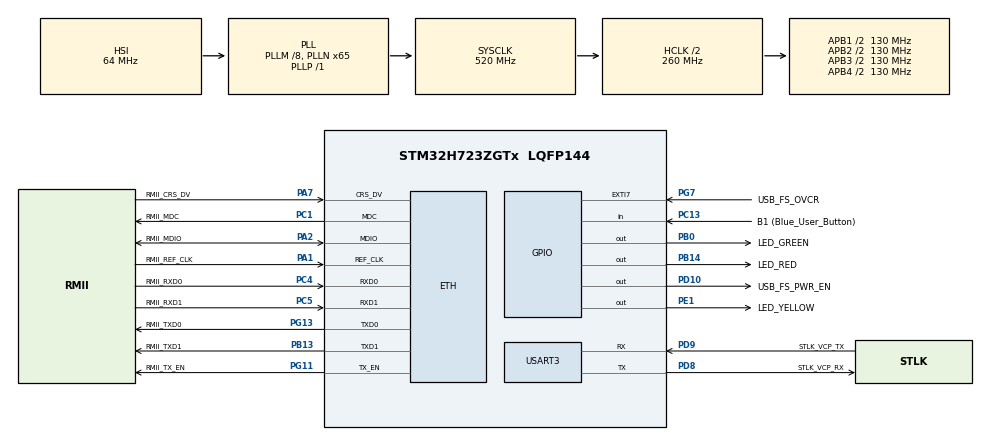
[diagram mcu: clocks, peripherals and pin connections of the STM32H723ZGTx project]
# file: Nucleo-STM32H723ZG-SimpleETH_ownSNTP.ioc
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Mcu.Family=STM32H7
LWIP0.BSP.STBoard=false
PH0-OSC_IN.Signal=RCC_OSC_IN
RCC.CortexFreq_Value=520000000
RCC.HPRE=RCC_HCLK_DIV2
PB14.GPIO_Label=LED_RED
NVIC.RTC_WKUP_IRQn=true\:0\:0\:false\:false\:true\:true\:true
RCC.PLLFRACN=0
PA13(JTMS/SWDIO).Signal=DEBUG_JTMS-SWDIO
VP_RTC_VS_RTC_Activate.Mode=RTC_Enabled
PB0.GPIO_Label=LED_GREEN
PC5.Mode=RMII
PC13.GPIO_Label=B1 (Blue_User_Button)
PB13.GPIO_Label=RMII_TXD1
PB13.Signal=ETH_TXD1
PG13.Signal=ETH_TXD0
PD9.Mode=Asynchronous
PG11.Signal=ETH_TX_EN
RCC.SYSCLKSource=RCC_SYSCLKSOURCE_PLLCLK
ProjectManager.StackSize=0x400
PA13(JTMS/SWDIO).Mode=Trace_Asynchronous_SW
USART3.VirtualMode-Asynchronous=VM_ASYNC
CORTEX_M7.Enable-Cortex_Memory_Protection_Unit_Region0_Settings=MPU_REGION_ENABLE
RCC.HCLKFreq_Value=260000000
PD8.Signal=USART3_TX
PE1.Signal=GPIO_Output
PB3(JTDO/TRACESWO).GPIO_Label=SWO
PH0-OSC_IN.Mode=HSE-External-Clock-Source
PH0-OSC_IN.GPIO_Label=MCO
LWIP.LWIP_RAM_HEAP_POINTER=0x30004000
RCC.HSE_VALUE=8000000
RCC.DIVM2=1
RCC.DIVM1=8
LWIP.MEM_SIZE=16360
PC14-OSC32_IN.Mode=LSE-External-Oscillator
PA14(JTCK/SWCLK).GPIO_Label=SWCLK
PC4.GPIO_Label=RMII_RXD0
PB3(JTDO/TRACESWO).Signal=DEBUG_JTDO-SWO
PA10.GPIO_Label=USB_FS_ID
PG13.Mode=RMII
LWIP0.BSP.solution=LAN8742
RCC.APB3Freq_Value=130000000
LWIP0.BSP.component=LAN8742
Mcu.Package=LQFP144
RCC.D1PPRE=RCC_APB3_DIV2
CORTEX_M7.BaseAddress-Cortex_Memory_Protection_Unit_Region1_Settings=0x30004000
PB3(JTDO/TRACESWO).Mode=Trace_Asynchronous_SW
PA2.GPIO_Label=RMII_MDIO
RTC.WakeUpCounter-WakeUp=20000
PA10.Signal=USB_OTG_HS_ID
VP_RTC_VS_RTC_Calendar.Mode=RTC_Calendar
CORTEX_M7.Size-Cortex_Memory_Protection_Unit_Region1_Settings=MPU_REGION_SIZE_16KB
RCC.APB4Freq_Value=130000000
ETH.RxBuffAddress=0x30000200
CORTEX_M7.Enable-Cortex_Memory_Protection_Unit_Region1_Settings=MPU_REGION_ENABLE
PA13(JTMS/SWDIO).GPIO_Label=SWDIO
PG11.GPIO_Label=RMII_TX_EN
PC5.Signal=ETH_RXD1
PB13.Mode=RMII
CORTEX_M7.IsShareable-Cortex_Memory_Protection_Unit_Region1_Settings=MPU_ACCESS_SHAREABLE
CORTEX_M7.IsBufferable-Cortex_Memory_Protection_Unit_Region0_Settings=MPU_ACCESS_BUFFERABLE
PC4.Mode=RMII
PC15-OSC32_OUT.Mode=LSE-External-Oscillator
CORTEX_M7.CPU_ICache=Enabled
RCC.DIVQ1=4
PA7.Mode=RMII
PG7.Signal=GPXTI7
LWIP0.BSP.i2caddr=0
PD9.GPIO_Label=STLK_VCP_TX
PC13.Signal=GPIO_Input
PA9.GPIO_Label=USB_FS_VBUS
PC4.Signal=ETH_RXD0
RCC.D2PPRE2=RCC_APB2_DIV2
RCC.D2PPRE1=RCC_APB1_DIV2
PD9.Signal=USART3_RX
RCC.DIVP1=1
PC14-OSC32_IN.Signal=RCC_OSC32_IN
PG13.GPIO_Label=RMII_TXD0
VP_LWIP_VS_Enabled.Mode=Enabled
LWIP.LWIP_DNS=1
PD8.GPIO_Label=STLK_VCP_RX
PD10.Signal=GPIO_Output
CORTEX_M7.MPU_Control=MPU_PRIVILEGED_DEFAULT
ProjectManager.TargetToolchain=STM32CubeIDE
CORTEX_M7.TypeExtField-Cortex_Memory_Protection_Unit_Region1_Settings=MPU_TEX_LEVEL1
RTC.Year=21
LWIP.LWIP_SNTP=1
PA9.Signal=USB_OTG_HS_VBUS
RCC.DIVN2=19
RCC.DIVN1=65
CORTEX_M7.BaseAddress-Cortex_Memory_Protection_Unit_Region0_Settings=0x30000000
LWIP0.BSP.instance=LAN8742
RCC.USBFreq_Value=48000000
PD10.GPIO_Label=USB_FS_PWR_EN
LWIP0.BSP.api=BSP_COMPONENT_DRIVER
PD8.Mode=Asynchronous
PC15-OSC32_OUT.Signal=RCC_OSC32_OUT
PA1.Signal=ETH_REF_CLK
PB14.Signal=GPIO_Output
RCC.USBCLockSelection=RCC_USBCLKSOURCE_HSI48
board=NUCLEO-H723ZG
PE1.GPIO_Label=LED_YELLOW
RCC.APB2Freq_Value=130000000
PA1.Mode=RMII
PG7.GPIO_Label=USB_FS_OVCR
RCC.ADCFreq_Value=608000000
PA1.GPIO_Label=RMII_REF_CLK
PC1.GPIO_Label=RMII_MDC
CORTEX_M7.AccessPermission-Cortex_Memory_Protection_Unit_Region0_Settings=MPU_REGION_FULL_ACCESS
PH1-OSC_OUT.Signal=RCC_OSC_OUT
PA14(JTCK/SWCLK).Mode=Trace_Asynchronous_SW
Mcu.Name=STM32H723ZGTx
CORTEX_M7.Size-Cortex_Memory_Protection_Unit_Region0_Settings=MPU_REGION_SIZE_256B
PA2.Signal=ETH_MDIO
CORTEX_M7.AccessPermission-Cortex_Memory_Protection_Unit_Region1_Settings=MPU_REGION_FULL_ACCESS
RCC.SYSCLKFreq_VALUE=520000000
RTC.Hours=14
ETH.MediaInterface=HAL_ETH_RMII_MODE
PA7.GPIO_Label=RMII_CRS_DV
LWIP.BSP.number=1
PC5.GPIO_Label=RMII_RXD1
PG11.Mode=RMII
ProjectManager.HeapSize=0x200
LWIP.Version=v2.1.2_Cube
VP_RTC_VS_RTC_WakeUp_intern.Mode=WakeUp
NVIC.PriorityGroup=NVIC_PRIORITYGROUP_4
PA2.Mode=RMII
RCC.D3PPRE=RCC_APB4_DIV2
PA14(JTCK/SWCLK).Signal=DEBUG_JTCK-SWCLK
ETH.RxDescAddress=0x30000000
CORTEX_M7.CPU_DCache=Enabled
LWIP0.BSP.name=Driver_PHY
RCC.APB1Freq_Value=130000000
PB0.Signal=GPIO_Output
RTC.Date=7
PC1.Signal=ETH_MDC
PC1.Mode=RMII
PA7.Signal=ETH_CRS_DV
ETH.TxDescAddress=0x30000060

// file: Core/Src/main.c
/* USER CODE BEGIN Header */
/**
  ******************************************************************************
  * @file           : main.c
  * @brief          : Main program body
  ******************************************************************************
  * @attention
  *
  * <h2><center>&copy; Copyright (c) 2021 STMicroelectronics.
  * All rights reserved.</center></h2>
  *
  * This software component is licensed by ST under BSD 3-Clause license,
  * the "License"; You may not use this file except in compliance with the
  * License. You may obtain a copy of the License at:
  *                        opensource.org/licenses/BSD-3-Clause
  *
  ******************************************************************************
  */
/* USER CODE END Header */
#include "main.h"
#include "lwip.h"
#include "usart.h"
#include "gpio.h"

/* USER CODE BEGIN Includes */
#include "tcp_client.h"
#include <stdio.h>
#include <string.h>
#include "rtc.h"

#include "sntp_client.h"

/* USER CODE END Includes */

/* USER CODE BEGIN PV */
#define COUNT  5
static const char * const serverTbl[COUNT] = {
  "wikipedia.org",
  "nie.ma.takiego.serwera",
  "vega.cbk.poznan.pl",
  "tempus1.gum.gov.pl",
  "tempus2.gum.gov.pl"
};
static int status[COUNT] = {
  SNTP_NOT_RUNNING,
  SNTP_NOT_RUNNING,
  SNTP_NOT_RUNNING,
  SNTP_NOT_RUNNING,
  SNTP_NOT_RUNNING
};
/* USER CODE END PV */

void SystemClock_Config(void);
static void MPU_Config(void);

/* USER CODE BEGIN 0 */
void BackupDateToBR(void);

RTC_TimeTypeDef RtcTime;
RTC_DateTypeDef RtcDate;
uint16_t Milliseconds;

uint8_t CompareMilliseconds;
uint8_t CompareDate;

uint8_t Message[64];
uint8_t MessageLen;

void BackupDateToBR(void)
{
	HAL_RTCEx_BKUPWrite(&hrtc, RTC_BKP_DR2, ((RtcDate.Date << 8) | (RtcDate.Month)));
	HAL_RTCEx_BKUPWrite(&hrtc, RTC_BKP_DR3, ((RtcDate.Year << 8) | (RtcDate.WeekDay)));
}

void SetRTC(RTC_TimeTypeDef* sTime, 	RTC_DateTypeDef* DateToUpdate)
{

	if (HAL_RTC_SetTime(&hrtc, sTime, RTC_FORMAT_BIN) != HAL_OK)
	{
	  Error_Handler();
	}

	if (HAL_RTC_SetDate(&hrtc, DateToUpdate, RTC_FORMAT_BIN) != HAL_OK)
	{
	  Error_Handler();
	}

	BackupDateToBR();
}

void ClearStandbyFlags()
{

	  if (__HAL_PWR_GET_FLAG(PWR_FLAG_SB) != RESET)  //jesli wstal z stadby
	  {
		  __HAL_PWR_CLEAR_FLAG(PWR_FLAG_SB);
		  HAL_RTCEx_DeactivateWakeUpTimer(&hrtc);
			 __HAL_RTC_WAKEUPTIMER_CLEAR_FLAG(&hrtc, RTC_FLAG_WUTF);
	  }
	  	  else
	  	  	  {
		 MX_RTC_Init();
			}
}

void EnterStandbyByMe(uint16_t time)
{
	float t_helper=0;

	t_helper=time/0.0005;

	  if (HAL_RTCEx_SetWakeUpTimer_IT(&hrtc,(uint16_t)t_helper, RTC_WAKEUPCLOCK_RTCCLK_DIV16) != HAL_OK)
	  {
	    Error_Handler();
	  }
	  HAL_PWR_EnterSTANDBYMode();
}

/* USER CODE END 0 */

int main(void)
{

  /* MPU Configuration--------------------------------------------------------*/
  MPU_Config();

  /* Enable I-Cache---------------------------------------------------------*/
  SCB_EnableICache();

  /* Enable D-Cache---------------------------------------------------------*/
  SCB_EnableDCache();

  /* MCU Configuration--------------------------------------------------------*/

  /* Reset of all peripherals, Initializes the Flash interface and the Systick. */
  HAL_Init();

  /* Configure the system clock */
  SystemClock_Config();

  /* Initialize all configured peripherals */
  MX_GPIO_Init();
  MX_LWIP_Init();
  MX_USART3_UART_Init();
  /* USER CODE BEGIN 2 */
  MX_RTC_Init();  // -< I modified this function so much...

  SCB_CleanInvalidateDCache();

 // ClearStandbyFlags();

  HAL_RTC_GetTime(&hrtc, &RtcTime, RTC_FORMAT_BIN);
  HAL_RTC_GetDate(&hrtc, &RtcDate, RTC_FORMAT_BIN);

  SNTPclientStart(serverTbl[2], &status[2]);
  uint32_t YellowLedTime=HAL_GetTick();
 uint32_t TimeActualization=HAL_GetTick();
 uint32_t zSNTPtimertime=HAL_GetTick();

  /* USER CODE END 2 */

  /* Infinite loop */
  /* USER CODE BEGIN WHILE */
  while (1)
  {
	  if( HAL_GetTick() -zSNTPtimertime > 200)
	  {
		  zSNTPtimertime=HAL_GetTick();
		  SNTPtimer();
	  }

	  MX_LWIP_Process ();   //I don't use it its only for LwIP stack driver!
	  if(HAL_GetTick() - YellowLedTime > 1000)
	  {
		  HAL_RTC_GetTime(&hrtc, &RtcTime, RTC_FORMAT_BIN);
		 	  Milliseconds = ((RtcTime.SecondFraction-RtcTime.SubSeconds)/((float)RtcTime.SecondFraction+1) * 100);
		 	  HAL_RTC_GetDate(&hrtc, &RtcDate, RTC_FORMAT_BIN);

		  MessageLen = sprintf((char*)Message, "Date: %02d.%02d.20%02d Time: %02d:%02d:%02d:%02d\n\r",
				  RtcDate.Date, RtcDate.Month, RtcDate.Year, RtcTime.Hours, RtcTime.Minutes, RtcTime.Seconds, Milliseconds);
		 		  HAL_UART_Transmit(&huart3, Message, MessageLen, 100);

		  YellowLedTime=HAL_GetTick();
		  HAL_GPIO_TogglePin(LED_YELLOW_GPIO_Port, LED_YELLOW_Pin);
		 // HAL_UART_Transmit(&huart3,(uint8_t*) "HHH\n\r", sizeof("HHH\n\r")-1, 100);
	  }

	  if(HAL_GetTick() - TimeActualization > 60000)
	  {
		  TimeActualization=HAL_GetTick();

		  SNTPclientStart(serverTbl[3], &status[3]);
	  }
    /* USER CODE END WHILE */

  }
}

void SystemClock_Config(void)
{
  RCC_OscInitTypeDef RCC_OscInitStruct = {0};
  RCC_ClkInitTypeDef RCC_ClkInitStruct = {0};

  /** Supply configuration update enable
  */
  HAL_PWREx_ConfigSupply(PWR_LDO_SUPPLY);
  /** Configure the main internal regulator output voltage
  */
  __HAL_PWR_VOLTAGESCALING_CONFIG(PWR_REGULATOR_VOLTAGE_SCALE0);

  while(!__HAL_PWR_GET_FLAG(PWR_FLAG_VOSRDY)) {}
  /** Initializes the RCC Oscillators according to the specified parameters
  * in the RCC_OscInitTypeDef structure.
  */
  RCC_OscInitStruct.OscillatorType = RCC_OSCILLATORTYPE_HSI|RCC_OSCILLATORTYPE_LSI;
  RCC_OscInitStruct.HSIState = RCC_HSI_DIV1;
  RCC_OscInitStruct.HSICalibrationValue = RCC_HSICALIBRATION_DEFAULT;
  RCC_OscInitStruct.LSIState = RCC_LSI_ON;
  RCC_OscInitStruct.PLL.PLLState = RCC_PLL_ON;
  RCC_OscInitStruct.PLL.PLLSource = RCC_PLLSOURCE_HSI;
  RCC_OscInitStruct.PLL.PLLM = 8;
  RCC_OscInitStruct.PLL.PLLN = 65;
  RCC_OscInitStruct.PLL.PLLP = 1;
  RCC_OscInitStruct.PLL.PLLQ = 4;
  RCC_OscInitStruct.PLL.PLLR = 2;
  RCC_OscInitStruct.PLL.PLLRGE = RCC_PLL1VCIRANGE_3;
  RCC_OscInitStruct.PLL.PLLVCOSEL = RCC_PLL1VCOWIDE;
  RCC_OscInitStruct.PLL.PLLFRACN = 0;
  if (HAL_RCC_OscConfig(&RCC_OscInitStruct) != HAL_OK)
  {
    Error_Handler();
  }
  /** Initializes the CPU, AHB and APB buses clocks
  */
  RCC_ClkInitStruct.ClockType = RCC_CLOCKTYPE_HCLK|RCC_CLOCKTYPE_SYSCLK
                              |RCC_CLOCKTYPE_PCLK1|RCC_CLOCKTYPE_PCLK2
                              |RCC_CLOCKTYPE_D3PCLK1|RCC_CLOCKTYPE_D1PCLK1;
  RCC_ClkInitStruct.SYSCLKSource = RCC_SYSCLKSOURCE_PLLCLK;
  RCC_ClkInitStruct.SYSCLKDivider = RCC_SYSCLK_DIV1;
  RCC_ClkInitStruct.AHBCLKDivider = RCC_HCLK_DIV2;
  RCC_ClkInitStruct.APB3CLKDivider = RCC_APB3_DIV2;
  RCC_ClkInitStruct.APB1CLKDivider = RCC_APB1_DIV2;
  RCC_ClkInitStruct.APB2CLKDivider = RCC_APB2_DIV2;
  RCC_ClkInitStruct.APB4CLKDivider = RCC_APB4_DIV2;

  if (HAL_RCC_ClockConfig(&RCC_ClkInitStruct, FLASH_LATENCY_3) != HAL_OK)
  {
    Error_Handler();
  }
}

/* MPU Configuration */

void MPU_Config(void)
{
  MPU_Region_InitTypeDef MPU_InitStruct = {0};

  /* Disables the MPU */
  HAL_MPU_Disable();
  /** Initializes and configures the Region and the memory to be protected
  */
  MPU_InitStruct.Enable = MPU_REGION_ENABLE;
  MPU_InitStruct.Number = MPU_REGION_NUMBER0;
  MPU_InitStruct.BaseAddress = 0x30000000;
  MPU_InitStruct.Size = MPU_REGION_SIZE_256B;
  MPU_InitStruct.SubRegionDisable = 0x0;
  MPU_InitStruct.TypeExtField = MPU_TEX_LEVEL0;
  MPU_InitStruct.AccessPermission = MPU_REGION_FULL_ACCESS;
  MPU_InitStruct.DisableExec = MPU_INSTRUCTION_ACCESS_ENABLE;
  MPU_InitStruct.IsShareable = MPU_ACCESS_NOT_SHAREABLE;
  MPU_InitStruct.IsCacheable = MPU_ACCESS_NOT_CACHEABLE;
  MPU_InitStruct.IsBufferable = MPU_ACCESS_BUFFERABLE;

  HAL_MPU_ConfigRegion(&MPU_InitStruct);
  /** Initializes and configures the Region and the memory to be protected
  */
  MPU_InitStruct.Number = MPU_REGION_NUMBER1;
  MPU_InitStruct.BaseAddress = 0x30004000;
  MPU_InitStruct.Size = MPU_REGION_SIZE_16KB;
  MPU_InitStruct.TypeExtField = MPU_TEX_LEVEL1;
  MPU_InitStruct.IsShareable = MPU_ACCESS_SHAREABLE;
  MPU_InitStruct.IsBufferable = MPU_ACCESS_NOT_BUFFERABLE;

  HAL_MPU_ConfigRegion(&MPU_InitStruct);
  /* Enables the MPU */
  HAL_MPU_Enable(MPU_PRIVILEGED_DEFAULT);

}

void Error_Handler(void)
{
  __disable_irq();
  while (1)
  {
  }
}

/************************ (C) COPYRIGHT STMicroelectronics *****END OF FILE****/
